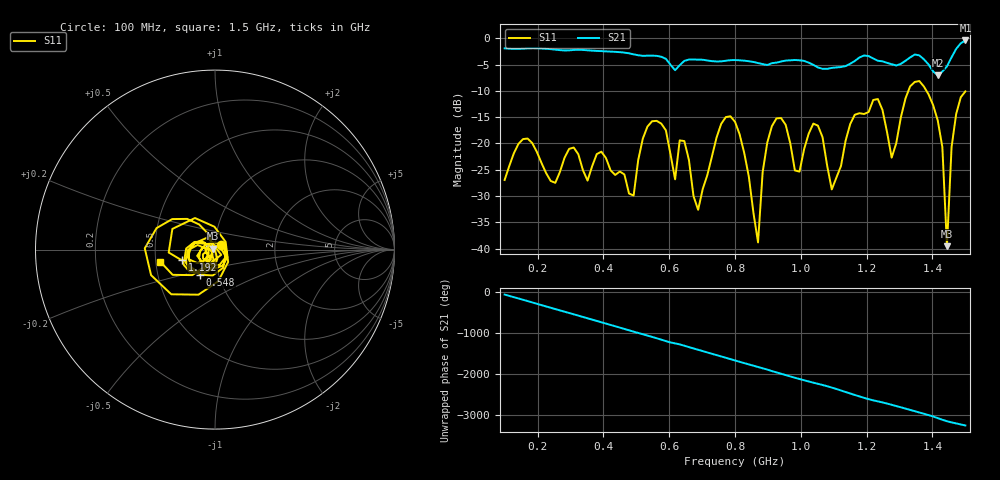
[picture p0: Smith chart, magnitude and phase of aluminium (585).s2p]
! NanoVNA-App
! Date: 2025-09-25 14:59:50
! Start: 100MHz Stop: 1,5GHz Points: 101
! S-Parameter data: F S11 S21 S12 S22
# Hz S RI R 50
!  Frequency  S11_Real  S11_Imag  S21_Real  S21_Imag  S12_Real  S12_Imag  S22_Real  S22_Imag
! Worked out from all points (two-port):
!   101 points, 100 MHz to 1.5 GHz, reference 50 ohm
!   highest |S21| = -0.43 dB at 1.5 GHz (marker M1); lowest = -7.1 dB at 1.416 GHz (marker M2)
!   |S21| within 3 dB of the highest: start of sweep to 567.6 MHz; 1.46 GHz to end of sweep (the widest 2 of 4)
!   lowest |S11| = -39.5 dB at 1.444 GHz (marker M3), VSWR 1.02, Z = 49.1 + j0.524 ohm
!   |S11| at or under -10 dB: start of sweep to 1.327 GHz; 1.382 GHz to end of sweep
!   S12 and S22 are empty: the file has one direction only
!   S11 on the Smith chart (normalised r, x): 100 MHz: 1.07, +0.06; 548 MHz: 0.82, -0.24; 1.192 GHz: 0.69, -0.08; 1.5 GHz: 0.53, -0.08
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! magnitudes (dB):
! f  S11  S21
! 100 MHz  -27.0  -1.9
! 156 MHz  -19.2  -2.0
! 338 MHz  -25.1  -2.2
! 492 MHz  -29.9  -3.1
! 548 MHz  -15.8  -3.3
! 576 MHz  -16.2  -3.5
! 646 MHz  -19.6  -4.3
! 688 MHz  -32.6  -4.1
! 800 MHz  -15.9  -4.2
! 870 MHz  -38.8  -4.7
! 912 MHz  -16.7  -4.7
! 996 MHz  -25.4  -4.2
! 1.038 GHz  -16.2  -5.1
! 1.094 GHz  -28.8  -5.6
! 1.192 GHz  -14.4  -3.3
! 1.234 GHz  -11.6  -4.3
! 1.276 GHz  -22.7  -4.9
! 1.346 GHz  -8.3  -3.1
! 1.416 GHz  -15.6  -7.1
! 1.444 GHz  -39.5  -5.3
! 1.458 GHz  -20.7  -3.6
! 1.5 GHz  -10.1  -0.4
